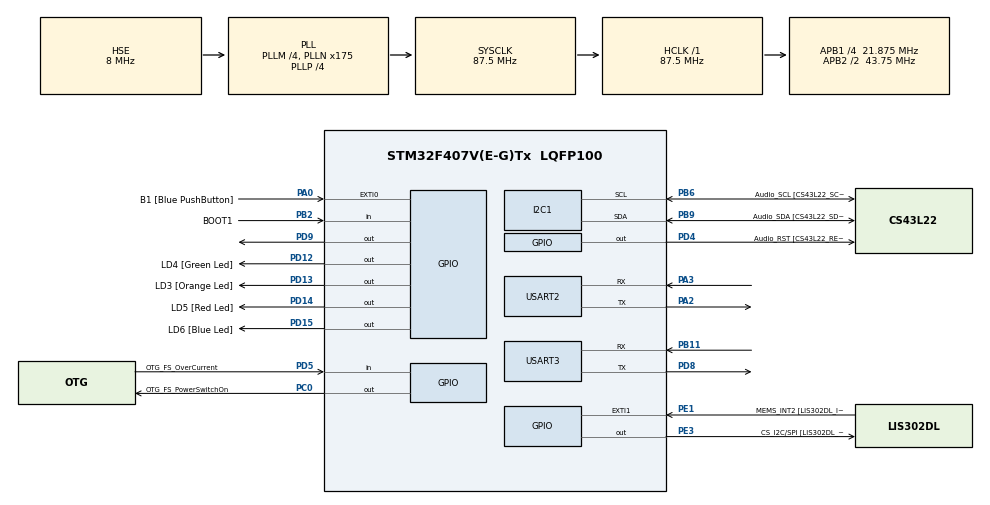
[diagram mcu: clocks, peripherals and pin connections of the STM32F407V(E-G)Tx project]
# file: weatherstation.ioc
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FREERTOS.Mutexes01=i2c1Mutex,Dynamic,NULL
FREERTOS.Queues01=bme280Data,16,uint16_t,0,Dynamic,NULL,NULL
FREERTOS.Tasks01=defaultTask,16,128,StartDefaultTask,Default,NULL,Dynamic,NULL,NULL;bme280Task,24,512,Startbme280Task,Default,NULL,Dynamic,NULL,NULL;lcdTask,24,512,StartlcdTask,Default,NULL,Dynamic,NULL,NULL;mqttTask,24,512,StartmqttTask,Default,NULL,Dynamic,NULL,NULL
Mcu.Family=STM32F4
Mcu.Name=STM32F407V(E-G)Tx
Mcu.Package=LQFP100
NVIC.PriorityGroup=NVIC_PRIORITYGROUP_4
NVIC.TIM6_DAC_IRQn=true\:15\:0\:false\:false\:true\:false\:false\:true\:true
NVIC.TimeBase=TIM6_DAC_IRQn
NVIC.TimeBaseIP=TIM6
PA0-WKUP.GPIO_Label=B1 [Blue PushButton]
PA0-WKUP.Signal=GPXTI0
PA10.GPIO_Label=OTG_FS_ID
PA10.GPIO_Mode=GPIO_MODE_AF_PP
PA10.GPIO_PuPd=GPIO_NOPULL
PA10.GPIO_Speed=GPIO_SPEED_FREQ_LOW
PA10.Signal=USB_OTG_FS_ID
PA11.GPIO_Label=OTG_FS_DM
PA11.GPIO_Mode=GPIO_MODE_AF_PP
PA11.GPIO_PuPd=GPIO_NOPULL
PA11.GPIO_Speed=GPIO_SPEED_FREQ_LOW
PA11.Signal=USB_OTG_FS_DM
PA12.GPIO_Label=OTG_FS_DP
PA12.GPIO_Mode=GPIO_MODE_AF_PP
PA12.GPIO_PuPd=GPIO_NOPULL
PA12.GPIO_Speed=GPIO_SPEED_FREQ_LOW
PA12.Signal=USB_OTG_FS_DP
PA13.GPIO_Label=SWDIO
PA13.Signal=SYS_JTMS-SWDIO
PA14.GPIO_Label=SWCLK
PA14.Signal=SYS_JTCK-SWCLK
PA2.Mode=Asynchronous
PA2.Signal=USART2_TX
PA3.Mode=Asynchronous
PA3.Signal=USART2_RX
PA4.GPIO_Label=I2S3_WS [CS43L22_LRCK]
PA4.GPIO_Mode=GPIO_MODE_AF_PP
PA4.GPIO_PuPd=GPIO_NOPULL
PA4.GPIO_Speed=GPIO_SPEED_FREQ_LOW
PA4.Signal=I2S3_WS
PA5.GPIO_Label=SPI1_SCK [LIS302DL_SCL/SPC]
PA5.GPIO_Mode=GPIO_MODE_AF_PP
PA5.GPIO_PuPd=GPIO_NOPULL
PA5.GPIO_Speed=GPIO_SPEED_FREQ_LOW
PA5.Signal=SPI1_SCK
PA6.GPIO_Label=SPI1_MISO [LIS302DL_SDO]
PA6.GPIO_Mode=GPIO_MODE_AF_PP
PA6.GPIO_PuPd=GPIO_NOPULL
PA6.GPIO_Speed=GPIO_SPEED_FREQ_LOW
PA6.Signal=SPI1_MISO
PA7.GPIO_Label=SPI1_MOSI [LIS302DL_SDA/SDI/SDO]
PA7.GPIO_Mode=GPIO_MODE_AF_PP
PA7.GPIO_PuPd=GPIO_NOPULL
PA7.GPIO_Speed=GPIO_SPEED_FREQ_LOW
PA7.Signal=SPI1_MOSI
PA9.GPIO_Label=VBUS_FS
PA9.GPIO_Mode=GPIO_MODE_INPUT
PA9.GPIO_PuPd=GPIO_NOPULL
PA9.Signal=USB_OTG_FS_VBUS
PB10.GPIO_Label=CLK_IN [MP45DT02_CLK]
PB10.GPIO_Mode=GPIO_MODE_AF_PP
PB10.GPIO_PuPd=GPIO_NOPULL
PB10.GPIO_Speed=GPIO_SPEED_FREQ_LOW
PB10.Signal=I2S2_CK
PB11.Mode=Asynchronous
PB11.Signal=USART3_RX
PB2.GPIO_Label=BOOT1
PB2.GPIO_Mode=GPIO_MODE_INPUT
PB2.GPIO_PuPd=GPIO_NOPULL
PB2.Signal=GPIO_Input
PB3.GPIO_Label=SWO
PB3.Signal=SYS_JTDO-SWO
PB6.GPIO_Label=Audio_SCL [CS43L22_SCL]
PB6.GPIO_Mode=GPIO_MODE_AF_OD
PB6.GPIO_Pu=GPIO_NOPULL
PB6.GPIO_PuPd=GPIO_NOPULL
PB6.GPIO_Speed=GPIO_SPEED_FREQ_LOW
PB6.Mode=I2C
PB6.Signal=I2C1_SCL
PB9.GPIO_Label=Audio_SDA [CS43L22_SDA]
PB9.GPIO_Mode=GPIO_MODE_AF_OD
PB9.GPIO_Pu=GPIO_NOPULL
PB9.GPIO_PuPd=GPIO_NOPULL
PB9.GPIO_Speed=GPIO_SPEED_FREQ_LOW
PB9.Mode=I2C
PB9.Signal=I2C1_SDA
PC0.GPIO_Label=OTG_FS_PowerSwitchOn
PC0.GPIO_PuPd=GPIO_NOPULL
PC0.GPIO_Speed=GPIO_SPEED_FREQ_LOW
PC0.PinState=GPIO_PIN_SET
PC0.Signal=GPIO_Output
PC10.GPIO_Label=I2S3_SCK [CS43L22_SCLK]
PC10.GPIO_Mode=GPIO_MODE_AF_PP
PC10.GPIO_PuPd=GPIO_NOPULL
PC10.GPIO_Speed=GPIO_SPEED_FREQ_LOW
PC10.Signal=I2S3_CK
PC12.GPIO_Label=I2S3_SD [CS43L22_SDIN]
PC12.GPIO_Mode=GPIO_MODE_AF_PP
PC12.GPIO_PuPd=GPIO_NOPULL
PC12.GPIO_Speed=GPIO_SPEED_FREQ_LOW
PC12.Signal=I2S3_SD
PC14-OSC32_IN.GPIO_Label=PC14-OSC32_IN
PC14-OSC32_IN.Signal=RCC_OSC32_IN
PC15-OSC32_OUT.GPIO_Label=PC15-OSC32_OUT
PC15-OSC32_OUT.Signal=RCC_OSC32_OUT
PC3.GPIO_Label=PDM_OUT [MP45DT02_DOUT]
PC3.GPIO_Mode=GPIO_MODE_AF_PP
PC3.GPIO_PuPd=GPIO_NOPULL
PC3.GPIO_Speed=GPIO_SPEED_FREQ_LOW
PC3.Signal=I2S2_SD
PC7.GPIO_Label=I2S3_MCK [CS43L22_MCLK]
PC7.GPIO_Mode=GPIO_MODE_AF_PP
PC7.GPIO_PuPd=GPIO_NOPULL
PC7.GPIO_Speed=GPIO_SPEED_FREQ_LOW
PC7.Signal=I2S3_MCK
PD12.GPIO_Label=LD4 [Green Led]
PD12.GPIO_PuPd=GPIO_NOPULL
PD12.GPIO_Speed=GPIO_SPEED_FREQ_LOW
PD12.Signal=GPIO_Output
PD13.GPIO_Label=LD3 [Orange Led]
PD13.GPIO_PuPd=GPIO_NOPULL
PD13.GPIO_Speed=GPIO_SPEED_FREQ_LOW
PD13.Signal=GPIO_Output
PD14.GPIO_Label=LD5 [Red Led]
PD14.GPIO_PuPd=GPIO_NOPULL
PD14.GPIO_Speed=GPIO_SPEED_FREQ_LOW
PD14.Signal=GPIO_Output
PD15.GPIO_Label=LD6 [Blue Led]
PD15.GPIO_PuPd=GPIO_NOPULL
PD15.GPIO_Speed=GPIO_SPEED_FREQ_LOW
PD15.Signal=GPIO_Output
PD4.GPIO_Label=Audio_RST [CS43L22_RESET]
PD4.GPIO_PuPd=GPIO_NOPULL
PD4.GPIO_Speed=GPIO_SPEED_FREQ_LOW
PD4.Signal=GPIO_Output
PD5.GPIO_Label=OTG_FS_OverCurrent
PD5.GPIO_Mode=GPIO_MODE_INPUT
PD5.GPIO_PuPd=GPIO_NOPULL
PD5.Signal=GPIO_Input
PD8.Mode=Asynchronous
PD8.Signal=USART3_TX
PD9.Signal=GPIO_Output
PE1.GPIO_Label=MEMS_INT2 [LIS302DL_INT2]
PE1.GPIO_ModeDefaultEXTI=GPIO_MODE_EVT_RISING
PE1.GPIO_PuPd=GPIO_NOPULL
PE1.Signal=GPXTI1
PE3.GPIO_Label=CS_I2C/SPI [LIS302DL_CS_I2C/SPI]
PE3.GPIO_PuPd=GPIO_NOPULL
PE3.GPIO_Speed=GPIO_SPEED_FREQ_LOW
PE3.Signal=GPIO_Output
PH0-OSC_IN.GPIO_Label=PH0-OSC_IN
PH0-OSC_IN.Mode=HSE-External-Oscillator
PH0-OSC_IN.Signal=RCC_OSC_IN
PH1-OSC_OUT.GPIO_Label=PH1-OSC_OUT
PH1-OSC_OUT.Mode=HSE-External-Oscillator
PH1-OSC_OUT.Signal=RCC_OSC_OUT
ProjectManager.HeapSize=0x200
ProjectManager.StackSize=0x400
ProjectManager.TargetToolchain=STM32CubeIDE
RCC.48MHZClocksFreq_Value=50000000
RCC.AHBFreq_Value=87500000
RCC.APB1CLKDivider=RCC_HCLK_DIV4
RCC.APB1Freq_Value=21875000
RCC.APB1TimFreq_Value=43750000
RCC.APB2CLKDivider=RCC_HCLK_DIV2
RCC.APB2Freq_Value=43750000
RCC.APB2TimFreq_Value=87500000
RCC.CortexFreq_Value=87500000
RCC.HCLKFreq_Value=87500000
RCC.HSE_VALUE=8000000
RCC.HSI_VALUE=16000000
RCC.LSE_VALUE=32768
RCC.PLLM=4
RCC.PLLN=175
RCC.PLLP=RCC_PLLP_DIV4
RCC.PLLQ=7
RCC.PLLSourceVirtual=RCC_PLLSOURCE_HSE
RCC.SYSCLKFreq_VALUE=87500000
RCC.SYSCLKSource=RCC_SYSCLKSOURCE_PLLCLK
RCC.VCOOutputFreq_Value=350000000
USART2.VirtualMode=VM_ASYNC
USART3.VirtualMode=VM_ASYNC
VP_FREERTOS_VS_CMSIS_V2.Mode=CMSIS_V2
VP_SYS_VS_tim6.Mode=TIM6
board=STM32F407G-DISC1

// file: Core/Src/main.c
/* USER CODE BEGIN Header */
/**
 ******************************************************************************
 * @file           : main.c
 * @brief          : Main program body
 ******************************************************************************
 * @attention
 *
 * Copyright (c) 2024 STMicroelectronics.
 * All rights reserved.
 *
 * This software is licensed under terms that can be found in the LICENSE file
 * in the root directory of this software component.
 * If no LICENSE file comes with this software, it is provided AS-IS.
 *
 ******************************************************************************
 */
/* USER CODE END Header */
#include "main.h"
#include "cmsis_os.h"

/* USER CODE BEGIN Includes */

#include "./BME280/bme280.h"
#include "./SSD1306/ssd1306.h"
#include <stdlib.h>
#include <string.h>
#include <stdio.h>
#include <stdbool.h>
/* USER CODE END Includes */

/* USER CODE BEGIN PD */
#define WIFI_SSID "Sherdil"
#define WIFI_PASS "03336830763BB"
#define MQTT_CLIENT_ID "OgkyKQYPMSUUIA0lICEeFQI"
#define MQTT_USERNAME "OgkyKQYPMSUUIA0lICEeFQI"
#define MQTT_PASSWORD "QzwKF9IrWL12EE1YAIRR3fui"
#define MQTT_BROKER_URL "mqtt3.thingspeak.com"
#define MQTT_PORT 8883
#define THINGSPEAK_API_KEY "Y32YKHUW1JPAYZ3F"
/* USER CODE END PD */

I2C_HandleTypeDef hi2c1;

UART_HandleTypeDef huart2;
UART_HandleTypeDef huart3;

/* Definitions for defaultTask */
osThreadId_t defaultTaskHandle;
const osThreadAttr_t defaultTask_attributes = {
  .name = "defaultTask",
  .stack_size = 128 * 4,
  .priority = (osPriority_t) osPriorityBelowNormal,
};
/* Definitions for bme280Task */
osThreadId_t bme280TaskHandle;
const osThreadAttr_t bme280Task_attributes = {
  .name = "bme280Task",
  .stack_size = 512 * 4,
  .priority = (osPriority_t) osPriorityNormal,
};
/* Definitions for lcdTask */
osThreadId_t lcdTaskHandle;
const osThreadAttr_t lcdTask_attributes = {
  .name = "lcdTask",
  .stack_size = 512 * 4,
  .priority = (osPriority_t) osPriorityNormal,
};
/* Definitions for mqttTask */
osThreadId_t mqttTaskHandle;
const osThreadAttr_t mqttTask_attributes = {
  .name = "mqttTask",
  .stack_size = 512 * 4,
  .priority = (osPriority_t) osPriorityNormal,
};
/* Definitions for bme280Data */
osMessageQueueId_t bme280DataHandle;
const osMessageQueueAttr_t bme280Data_attributes = {
  .name = "bme280Data"
};
/* Definitions for i2c1Mutex */
osMutexId_t i2c1MutexHandle;
const osMutexAttr_t i2c1Mutex_attributes = {
  .name = "i2c1Mutex"
};

void SystemClock_Config(void);
static void MX_GPIO_Init(void);
static void MX_I2C1_Init(void);
static void MX_USART2_UART_Init(void);
static void MX_USART3_UART_Init(void);
void StartDefaultTask(void *argument);
void Startbme280Task(void *argument);
void StartlcdTask(void *argument);
void StartmqttTask(void *argument);

/* USER CODE BEGIN 0 */

void sendATCommand(const char *command);
void publishMQTTMessage(const char *topic, const char *payload);
bool waitForResponse(const char *expectedResponse, uint32_t timeout);

//float temperature, humidity, pressure;

typedef struct {
	float temperature, pressure, humidity;
} bme280Data_t;

struct bme280_dev dev;
struct bme280_data comp_data;
int8_t rslt;

int8_t user_i2c_read(uint8_t id, uint8_t reg_addr, uint8_t *data, uint16_t len) {
	if (HAL_I2C_Master_Transmit(&hi2c1, (id << 1), &reg_addr, 1, 10) != HAL_OK)
		return -1;
	if (HAL_I2C_Master_Receive(&hi2c1, (id << 1) | 0x01, data, len, 10)
			!= HAL_OK)
		return -1;

	return 0;
}

void user_delay_ms(uint32_t period) {

	HAL_Delay(period);
}

int8_t user_i2c_write(uint8_t id, uint8_t reg_addr, uint8_t *data, uint16_t len) {
	int8_t *buf;
	buf = malloc(len + 1);
	buf[0] = reg_addr;
	memcpy(buf + 1, data, len);

	if (HAL_I2C_Master_Transmit(&hi2c1, (id << 1), (uint8_t*) buf, len + 1,
	HAL_MAX_DELAY) != HAL_OK)
		return -1;

	free(buf);
	return 0;
}

// for printf() redirection to USART2
int _write(int file, char *data, int len) {
	HAL_StatusTypeDef status = HAL_UART_Transmit(&huart2, (uint8_t*) data, len,
	HAL_MAX_DELAY);
	return (status == HAL_OK ? len : 0);
}

//void publishMQTTMessage(const char *topic, const char *payload) {

//}

void sendATCommand(const char *command) {
	// Implement the function to send AT command via UART to ESP32-C3
	HAL_UART_Transmit(&huart2, (uint8_t*) command, strlen(command),
	HAL_MAX_DELAY);
	//HAL_Delay(100); // Delay to allow response from ESP32-C3
}

bool waitForResponse(const char *expectedResponse, uint32_t timeout) {
	uint32_t start = HAL_GetTick();
	char response[256];
	uint32_t index = 0;

	while ((HAL_GetTick() - start) < timeout) {
		if (HAL_UART_Receive(&huart2, (uint8_t*) &response[index], 1, 100)
				== HAL_OK) {
			if (response[index] == '\n') {
				response[index + 1] = '\0';
				if (strstr(response, expectedResponse) != NULL) {
					return true;
				}
				index = 0;
			} else {
				index++;
			}
		}
	}
	return false;
}

/* USER CODE END 0 */

int main(void)
{

  /* MCU Configuration--------------------------------------------------------*/

  /* Reset of all peripherals, Initializes the Flash interface and the Systick. */
  HAL_Init();

  /* Configure the system clock */
  SystemClock_Config();

  /* Initialize all configured peripherals */
  MX_GPIO_Init();
  MX_I2C1_Init();
  MX_USART2_UART_Init();
  MX_USART3_UART_Init();
  /* USER CODE BEGIN 2 */

	/*----------------------------------------BME280 Setup-------------------------------------------------*/
	/* BME280 Initialization */
	dev.dev_id = BME280_I2C_ADDR_PRIM;
	dev.intf = BME280_I2C_INTF;
	dev.read = user_i2c_read;
	dev.write = user_i2c_write;
	dev.delay_ms = user_delay_ms;

	rslt = bme280_init(&dev); // Initialize the sensor.
	if (rslt == BME280_OK) {
		printf("BME280 Successfully Initialized\r\n");
	} else {
		printf("Failed to Initialize BME280. Error code: %d\r\n", rslt);
	}

	/* BME280 Configuration */
	dev.settings.osr_h = BME280_OVERSAMPLING_1X;
	dev.settings.osr_p = BME280_OVERSAMPLING_16X;
	dev.settings.osr_t = BME280_OVERSAMPLING_2X;
	dev.settings.filter = BME280_FILTER_COEFF_16;
	rslt = bme280_set_sensor_settings(
			BME280_OSR_PRESS_SEL | BME280_OSR_TEMP_SEL | BME280_OSR_HUM_SEL
					| BME280_FILTER_SEL, &dev);
	//rslt = bme280_set_sensor_settings(BME280_ALL_SETTINGS_SEL, &dev); this can also be used in place of above
	if (rslt == BME280_OK) {
		printf("BME280 Successfully Configured\r\n");
	} else {
		printf("Failed to Configure BME280. Error code: %d\r\n", rslt);
	}
	/* BME280 Mode Setting */
	rslt = bme280_set_sensor_mode(BME280_NORMAL_MODE, &dev);
	dev.delay_ms(40);
	if (rslt == BME280_OK) {
		printf("BME280 Mode Successfully set.\r\n");
	} else {
		printf("Failed to set BME280 Mode. Error code: %d\r\n", rslt);
	}

	/*-------------------------------------SSD1306 Setup-----------------------------------------------------*/
	ssd1306_Init(&hi2c1);

	/*----------------------------------ESP32C3 Wifi Setup---------------------------------------------------*/

	char atCommand[256];

	// Restore ESP32 to factory settings (optional)
	HAL_UART_Transmit(&huart3, (uint8_t*) "Restoring ESP32\r\n",
			strlen("Restoring ESP32\r\n"), HAL_MAX_DELAY);
	sendATCommand("AT+RESTORE\r\n");
	if (!waitForResponse("OK\r\n", 10000)) {
		HAL_UART_Transmit(&huart3, (uint8_t*) "Failed to Restore ESP32\r\n",
				strlen("Failed to Restore ESP32\r\n"), HAL_MAX_DELAY);
	}

	HAL_Delay(4000);

	//-------------------------------------------------Wifi Con Setup---------------------------------------------//

	// Test AT communication
	HAL_UART_Transmit(&huart3, (uint8_t*) "Testing AT command\r\n",
			strlen("Testing AT command\r\n"), HAL_MAX_DELAY);
	sendATCommand("AT\r\n");
	if (!waitForResponse("OK\r\n", 2000)) {
		HAL_UART_Transmit(&huart3, (uint8_t*) "AT command failed\r\n",
				strlen("AT command failed\r\n"), HAL_MAX_DELAY);
	}

	// Set WiFi mode to station mode
	HAL_UART_Transmit(&huart3,
			(uint8_t*) "Setting WiFi mode to station mode\r\n",
			strlen("Setting WiFi mode to station mode\r\n"), HAL_MAX_DELAY);
	sendATCommand("AT+CWMODE=1\r\n");
	if (!waitForResponse("OK\r\n", 7000)) {
		HAL_UART_Transmit(&huart3, (uint8_t*) "Failed to Set Mode ESP32\r\n",
				strlen("Failed to Set Mode ESP32\r\n"), HAL_MAX_DELAY);
	}

	// Connect to WiFi
	HAL_UART_Transmit(&huart3, (uint8_t*) "Connecting to Wifi\r\n",
			strlen("Connecting to Wifi\r\n"), HAL_MAX_DELAY);
	snprintf(atCommand, sizeof(atCommand), "AT+CWJAP=\"%s\",\"%s\"\r\n",
	WIFI_SSID, WIFI_PASS);
	sendATCommand(atCommand);
	if (!waitForResponse("WIFI GOT IP\r\n", 10000)) {
		HAL_UART_Transmit(&huart3, (uint8_t*) "WiFi Connection Failed\r\n",
				strlen("WiFi Connection Failed\r\n"), HAL_MAX_DELAY);
	}

	//-------------------------------------------------MQTT Con Setup---------------------------------------------//

	// Set MQTT Username and Password
	HAL_UART_Transmit(&huart3, (uint8_t*) "Configuring MQTT Credentials\r\n",
			strlen("Configuring MQTT Credentials\r\n"), HAL_MAX_DELAY);
	snprintf(atCommand, sizeof(atCommand),
			"AT+MQTTUSERCFG=0,2,\"%s\",\"%s\",\"%s\",0,0,\"\"\r\n",
			MQTT_CLIENT_ID, MQTT_USERNAME, MQTT_PASSWORD);
	sendATCommand(atCommand);
	if (!waitForResponse("OK\r\n", 1000)) {
		HAL_UART_Transmit(&huart3,
				(uint8_t*) "Failed to Configure MQTT Credentials\r\n",
				strlen("Failed to Configure MQTT Credentials\r\n"),
				HAL_MAX_DELAY);
		//return;
	}

	// Connect to MQTT Broker
	HAL_UART_Transmit(&huart3, (uint8_t*) "Connecting to MQTT Broker\r\n",
			strlen("Connecting to MQTT Broker\r\n"), HAL_MAX_DELAY);
	snprintf(atCommand, sizeof(atCommand), "AT+MQTTCONN=0,\"%s\",%d,1\r\n",
			MQTT_BROKER_URL, MQTT_PORT);
	sendATCommand(atCommand);
	if (!waitForResponse("OK\r\n", 5000)) {
		HAL_UART_Transmit(&huart3,
				(uint8_t*) "Failed to Connect to MQTT Broker\r\n",
				strlen("Failed to Connect to MQTT Broker\r\n"), HAL_MAX_DELAY);
	}

	// Subscribe to a Topic
	HAL_UART_Transmit(&huart3, (uint8_t*) "Subscribing to Topic\r\n",
			strlen("Subscribing to Topic\r\n"), HAL_MAX_DELAY);
	sendATCommand("AT+MQTTSUB=0,\"sensor/bme280\",1\r\n");
	if (!waitForResponse("OK\r\n", 1000)) {
		HAL_UART_Transmit(&huart3,
				(uint8_t*) "Failed to Subscribe to Topic\r\n",
				strlen("Failed to Subscribe to Topic\r\n"), HAL_MAX_DELAY);
		//return;
	}

	// Publish to a Topic
	HAL_UART_Transmit(&huart3, (uint8_t*) "Publishing to Topic\r\n",
			strlen("Publishing to Topic\r\n"), HAL_MAX_DELAY);
	sendATCommand("AT+MQTTPUB=0,\"sensor/bme280\",\"value1\\, value2\",1,0\r\n");
	if (!waitForResponse("OK\r\n", 1000)) {
		HAL_UART_Transmit(&huart3, (uint8_t*) "Failed to Publish to Topic\r\n",
				strlen("Failed to Publish to Topic\r\n"), HAL_MAX_DELAY);
		//return;
	}

  /* USER CODE END 2 */

  /* Init scheduler */
  osKernelInitialize();
  /* Create the mutex(es) */
  /* creation of i2c1Mutex */
  i2c1MutexHandle = osMutexNew(&i2c1Mutex_attributes);

  /* Create the queue(s) */
  /* creation of bme280Data */
	bme280DataHandle = osMessageQueueNew(16, sizeof(bme280Data_t),
			&bme280Data_attributes);

  /* Create the thread(s) */
  /* creation of defaultTask */
  defaultTaskHandle = osThreadNew(StartDefaultTask, NULL, &defaultTask_attributes);

  /* creation of bme280Task */
  bme280TaskHandle = osThreadNew(Startbme280Task, NULL, &bme280Task_attributes);

  /* creation of lcdTask */
  lcdTaskHandle = osThreadNew(StartlcdTask, NULL, &lcdTask_attributes);

  /* creation of mqttTask */
  mqttTaskHandle = osThreadNew(StartmqttTask, NULL, &mqttTask_attributes);

  /* Start scheduler */
  osKernelStart();

  /* We should never get here as control is now taken by the scheduler */

  /* Infinite loop */
	while (1) {

	}
}

void SystemClock_Config(void)
{
  RCC_OscInitTypeDef RCC_OscInitStruct = {0};
  RCC_ClkInitTypeDef RCC_ClkInitStruct = {0};

  /** Configure the main internal regulator output voltage
  */
  __HAL_RCC_PWR_CLK_ENABLE();
  __HAL_PWR_VOLTAGESCALING_CONFIG(PWR_REGULATOR_VOLTAGE_SCALE1);

  /** Initializes the RCC Oscillators according to the specified parameters
  * in the RCC_OscInitTypeDef structure.
  */
  RCC_OscInitStruct.OscillatorType = RCC_OSCILLATORTYPE_HSE;
  RCC_OscInitStruct.HSEState = RCC_HSE_ON;
  RCC_OscInitStruct.PLL.PLLState = RCC_PLL_ON;
  RCC_OscInitStruct.PLL.PLLSource = RCC_PLLSOURCE_HSE;
  RCC_OscInitStruct.PLL.PLLM = 4;
  RCC_OscInitStruct.PLL.PLLN = 175;
  RCC_OscInitStruct.PLL.PLLP = RCC_PLLP_DIV4;
  RCC_OscInitStruct.PLL.PLLQ = 7;
  if (HAL_RCC_OscConfig(&RCC_OscInitStruct) != HAL_OK)
  {
    Error_Handler();
  }

  /** Initializes the CPU, AHB and APB buses clocks
  */
  RCC_ClkInitStruct.ClockType = RCC_CLOCKTYPE_HCLK|RCC_CLOCKTYPE_SYSCLK
                              |RCC_CLOCKTYPE_PCLK1|RCC_CLOCKTYPE_PCLK2;
  RCC_ClkInitStruct.SYSCLKSource = RCC_SYSCLKSOURCE_PLLCLK;
  RCC_ClkInitStruct.AHBCLKDivider = RCC_SYSCLK_DIV1;
  RCC_ClkInitStruct.APB1CLKDivider = RCC_HCLK_DIV4;
  RCC_ClkInitStruct.APB2CLKDivider = RCC_HCLK_DIV2;

  if (HAL_RCC_ClockConfig(&RCC_ClkInitStruct, FLASH_LATENCY_2) != HAL_OK)
  {
    Error_Handler();
  }
}

static void MX_I2C1_Init(void)
{

  hi2c1.Instance = I2C1;
  hi2c1.Init.ClockSpeed = 100000;
  hi2c1.Init.DutyCycle = I2C_DUTYCYCLE_2;
  hi2c1.Init.OwnAddress1 = 0;
  hi2c1.Init.AddressingMode = I2C_ADDRESSINGMODE_7BIT;
  hi2c1.Init.DualAddressMode = I2C_DUALADDRESS_DISABLE;
  hi2c1.Init.OwnAddress2 = 0;
  hi2c1.Init.GeneralCallMode = I2C_GENERALCALL_DISABLE;
  hi2c1.Init.NoStretchMode = I2C_NOSTRETCH_DISABLE;
  if (HAL_I2C_Init(&hi2c1) != HAL_OK)
  {
    Error_Handler();
  }

}

static void MX_USART2_UART_Init(void)
{

  huart2.Instance = USART2;
  huart2.Init.BaudRate = 115200;
  huart2.Init.WordLength = UART_WORDLENGTH_8B;
  huart2.Init.StopBits = UART_STOPBITS_1;
  huart2.Init.Parity = UART_PARITY_NONE;
  huart2.Init.Mode = UART_MODE_TX_RX;
  huart2.Init.HwFlowCtl = UART_HWCONTROL_NONE;
  huart2.Init.OverSampling = UART_OVERSAMPLING_16;
  if (HAL_UART_Init(&huart2) != HAL_OK)
  {
    Error_Handler();
  }

}

static void MX_USART3_UART_Init(void)
{

  huart3.Instance = USART3;
  huart3.Init.BaudRate = 115200;
  huart3.Init.WordLength = UART_WORDLENGTH_8B;
  huart3.Init.StopBits = UART_STOPBITS_1;
  huart3.Init.Parity = UART_PARITY_NONE;
  huart3.Init.Mode = UART_MODE_TX_RX;
  huart3.Init.HwFlowCtl = UART_HWCONTROL_NONE;
  huart3.Init.OverSampling = UART_OVERSAMPLING_16;
  if (HAL_UART_Init(&huart3) != HAL_OK)
  {
    Error_Handler();
  }

}

static void MX_GPIO_Init(void)
{
  GPIO_InitTypeDef GPIO_InitStruct = {0};

  /* GPIO Ports Clock Enable */
  __HAL_RCC_GPIOE_CLK_ENABLE();
  __HAL_RCC_GPIOC_CLK_ENABLE();
  __HAL_RCC_GPIOH_CLK_ENABLE();
  __HAL_RCC_GPIOA_CLK_ENABLE();
  __HAL_RCC_GPIOB_CLK_ENABLE();
  __HAL_RCC_GPIOD_CLK_ENABLE();

  /*Configure GPIO pin Output Level */
  HAL_GPIO_WritePin(CS_I2C_SPI_GPIO_Port, CS_I2C_SPI_Pin, GPIO_PIN_RESET);

  /*Configure GPIO pin Output Level */
  HAL_GPIO_WritePin(OTG_FS_PowerSwitchOn_GPIO_Port, OTG_FS_PowerSwitchOn_Pin, GPIO_PIN_SET);

  /*Configure GPIO pin Output Level */
  HAL_GPIO_WritePin(GPIOD, GPIO_PIN_9|LD4_Pin|LD3_Pin|LD5_Pin
                          |LD6_Pin|Audio_RST_Pin, GPIO_PIN_RESET);

  /*Configure GPIO pin : CS_I2C_SPI_Pin */
  GPIO_InitStruct.Pin = CS_I2C_SPI_Pin;
  GPIO_InitStruct.Mode = GPIO_MODE_OUTPUT_PP;
  GPIO_InitStruct.Pull = GPIO_NOPULL;
  GPIO_InitStruct.Speed = GPIO_SPEED_FREQ_LOW;
  HAL_GPIO_Init(CS_I2C_SPI_GPIO_Port, &GPIO_InitStruct);

  /*Configure GPIO pin : OTG_FS_PowerSwitchOn_Pin */
  GPIO_InitStruct.Pin = OTG_FS_PowerSwitchOn_Pin;
  GPIO_InitStruct.Mode = GPIO_MODE_OUTPUT_PP;
  GPIO_InitStruct.Pull = GPIO_NOPULL;
  GPIO_InitStruct.Speed = GPIO_SPEED_FREQ_LOW;
  HAL_GPIO_Init(OTG_FS_PowerSwitchOn_GPIO_Port, &GPIO_InitStruct);

  /*Configure GPIO pin : PDM_OUT_Pin */
  GPIO_InitStruct.Pin = PDM_OUT_Pin;
  GPIO_InitStruct.Mode = GPIO_MODE_AF_PP;
  GPIO_InitStruct.Pull = GPIO_NOPULL;
  GPIO_InitStruct.Speed = GPIO_SPEED_FREQ_LOW;
  GPIO_InitStruct.Alternate = GPIO_AF5_SPI2;
  HAL_GPIO_Init(PDM_OUT_GPIO_Port, &GPIO_InitStruct);

  /*Configure GPIO pin : B1_Pin */
  GPIO_InitStruct.Pin = B1_Pin;
  GPIO_InitStruct.Mode = GPIO_MODE_IT_RISING;
  GPIO_InitStruct.Pull = GPIO_NOPULL;
  HAL_GPIO_Init(B1_GPIO_Port, &GPIO_InitStruct);

  /*Configure GPIO pin : I2S3_WS_Pin */
  GPIO_InitStruct.Pin = I2S3_WS_Pin;
  GPIO_InitStruct.Mode = GPIO_MODE_AF_PP;
  GPIO_InitStruct.Pull = GPIO_NOPULL;
  GPIO_InitStruct.Speed = GPIO_SPEED_FREQ_LOW;
  GPIO_InitStruct.Alternate = GPIO_AF6_SPI3;
  HAL_GPIO_Init(I2S3_WS_GPIO_Port, &GPIO_InitStruct);

  /*Configure GPIO pins : SPI1_SCK_Pin SPI1_MISO_Pin SPI1_MOSI_Pin */
  GPIO_InitStruct.Pin = SPI1_SCK_Pin|SPI1_MISO_Pin|SPI1_MOSI_Pin;
  GPIO_InitStruct.Mode = GPIO_MODE_AF_PP;
  GPIO_InitStruct.Pull = GPIO_NOPULL;
  GPIO_InitStruct.Speed = GPIO_SPEED_FREQ_LOW;
  GPIO_InitStruct.Alternate = GPIO_AF5_SPI1;
  HAL_GPIO_Init(GPIOA, &GPIO_InitStruct);

  /*Configure GPIO pin : BOOT1_Pin */
  GPIO_InitStruct.Pin = BOOT1_Pin;
  GPIO_InitStruct.Mode = GPIO_MODE_INPUT;
  GPIO_InitStruct.Pull = GPIO_NOPULL;
  HAL_GPIO_Init(BOOT1_GPIO_Port, &GPIO_InitStruct);

  /*Configure GPIO pin : CLK_IN_Pin */
  GPIO_InitStruct.Pin = CLK_IN_Pin;
  GPIO_InitStruct.Mode = GPIO_MODE_AF_PP;
  GPIO_InitStruct.Pull = GPIO_NOPULL;
  GPIO_InitStruct.Speed = GPIO_SPEED_FREQ_LOW;
  GPIO_InitStruct.Alternate = GPIO_AF5_SPI2;
  HAL_GPIO_Init(CLK_IN_GPIO_Port, &GPIO_InitStruct);

  /*Configure GPIO pins : PD9 LD4_Pin LD3_Pin LD5_Pin
                           LD6_Pin Audio_RST_Pin */
  GPIO_InitStruct.Pin = GPIO_PIN_9|LD4_Pin|LD3_Pin|LD5_Pin
                          |LD6_Pin|Audio_RST_Pin;
  GPIO_InitStruct.Mode = GPIO_MODE_OUTPUT_PP;
  GPIO_InitStruct.Pull = GPIO_NOPULL;
  GPIO_InitStruct.Speed = GPIO_SPEED_FREQ_LOW;
  HAL_GPIO_Init(GPIOD, &GPIO_InitStruct);

  /*Configure GPIO pins : I2S3_MCK_Pin I2S3_SCK_Pin I2S3_SD_Pin */
  GPIO_InitStruct.Pin = I2S3_MCK_Pin|I2S3_SCK_Pin|I2S3_SD_Pin;
  GPIO_InitStruct.Mode = GPIO_MODE_AF_PP;
  GPIO_InitStruct.Pull = GPIO_NOPULL;
  GPIO_InitStruct.Speed = GPIO_SPEED_FREQ_LOW;
  GPIO_InitStruct.Alternate = GPIO_AF6_SPI3;
  HAL_GPIO_Init(GPIOC, &GPIO_InitStruct);

  /*Configure GPIO pin : VBUS_FS_Pin */
  GPIO_InitStruct.Pin = VBUS_FS_Pin;
  GPIO_InitStruct.Mode = GPIO_MODE_INPUT;
  GPIO_InitStruct.Pull = GPIO_NOPULL;
  HAL_GPIO_Init(VBUS_FS_GPIO_Port, &GPIO_InitStruct);

  /*Configure GPIO pins : OTG_FS_ID_Pin OTG_FS_DM_Pin OTG_FS_DP_Pin */
  GPIO_InitStruct.Pin = OTG_FS_ID_Pin|OTG_FS_DM_Pin|OTG_FS_DP_Pin;
  GPIO_InitStruct.Mode = GPIO_MODE_AF_PP;
  GPIO_InitStruct.Pull = GPIO_NOPULL;
  GPIO_InitStruct.Speed = GPIO_SPEED_FREQ_LOW;
  GPIO_InitStruct.Alternate = GPIO_AF10_OTG_FS;
  HAL_GPIO_Init(GPIOA, &GPIO_InitStruct);

  /*Configure GPIO pin : OTG_FS_OverCurrent_Pin */
  GPIO_InitStruct.Pin = OTG_FS_OverCurrent_Pin;
  GPIO_InitStruct.Mode = GPIO_MODE_INPUT;
  GPIO_InitStruct.Pull = GPIO_NOPULL;
  HAL_GPIO_Init(OTG_FS_OverCurrent_GPIO_Port, &GPIO_InitStruct);

  /*Configure GPIO pin : MEMS_INT2_Pin */
  GPIO_InitStruct.Pin = MEMS_INT2_Pin;
  GPIO_InitStruct.Mode = GPIO_MODE_EVT_RISING;
  GPIO_InitStruct.Pull = GPIO_NOPULL;
  HAL_GPIO_Init(MEMS_INT2_GPIO_Port, &GPIO_InitStruct);

}

void StartDefaultTask(void *argument)
{
  /* USER CODE BEGIN 5 */
	/* Infinite loop */
	for (;;) {
		HAL_GPIO_TogglePin(GPIOD, GPIO_PIN_9);
		osDelay(200);
	}
  /* USER CODE END 5 */
}

void Startbme280Task(void *argument)
{
  /* USER CODE BEGIN Startbme280Task */
	bme280Data_t sensorData;
	/* Infinite loop */
	for (;;) {

		if (osMutexAcquire(i2c1MutexHandle, osWaitForever) == osOK) {
			/* BME280 Data Collection */
			rslt = bme280_get_sensor_data(BME280_ALL, &comp_data, &dev);
			osMutexRelease(i2c1MutexHandle); // Release the I2C1 mutex
			if (rslt == BME280_OK) {
				sensorData.temperature = comp_data.temperature / 100.0f; //100.0f is to make at least one operand float type
				sensorData.pressure = comp_data.pressure * (0.00750062 / 100); //1hPa = 0.00750062 mmHg
				sensorData.humidity = comp_data.humidity / 1024.0f; //1024.0f is to make at least one operand float type
			}
			// Send data to the queue
			if (osMessageQueuePut(bme280DataHandle, &sensorData, 0,
			osWaitForever) != osOK) {
			}

		}
		osDelay(1);
	}
  /* USER CODE END Startbme280Task */
}

void StartlcdTask(void *argument)
{
  /* USER CODE BEGIN StartlcdTask */
	bme280Data_t receivedData;
	char buffer[32];
	/* Infinite loop */
	for (;;) {
		if (osMessageQueueGet(bme280DataHandle, &receivedData, NULL,
		osWaitForever) == osOK) {
		} else {
			// Handle error: Failed to receive data from queue
		}

		// Clear the display
		ssd1306_Fill(Black);

		// Print the received data on the SSD1306 display
		// Write data to local screen buffer
		snprintf(buffer, sizeof(buffer), "Tem:%.2f C",
				receivedData.temperature);
		ssd1306_SetCursor(0, 0);
		ssd1306_WriteString(buffer, Font_11x18, White);

		snprintf(buffer, sizeof(buffer), "Hum:%.2f %%", receivedData.humidity);
		ssd1306_SetCursor(0, 18); // Move cursor to the next line
		ssd1306_WriteString(buffer, Font_11x18, White);

		snprintf(buffer, sizeof(buffer), "Prs:%.2f mmHg",
				receivedData.pressure);
		ssd1306_SetCursor(0, 36); // Move cursor to the next line
		ssd1306_WriteString(buffer, Font_11x18, White);

		////////////////////------Mutex------------////////////////////////
		if (osMutexAcquire(i2c1MutexHandle, osWaitForever) == osOK) {
			// Update the SSD1306 display
			ssd1306_UpdateScreen(&hi2c1);
			// Release the mutex after accessing the I2C1 peripheral
			osMutexRelease(i2c1MutexHandle);
		} else {
			// Handle error: Failed to acquire mutex
		}
		// Release the mutex after accessing the I2C1 peripheral
		osMutexRelease(i2c1MutexHandle);
		////////////////////------Mutex------------////////////////////////

		osDelay(1);
	}

  /* USER CODE END StartlcdTask */
}

void StartmqttTask(void *argument)
{
  /* USER CODE BEGIN StartmqttTask */
	  	bme280Data_t sensorData;
	  	char mqttPayload[128];
	  	const char *mqttTopic = "sensor/bme280";
	  	char atCommand[256];
	/* Infinite loop */
	for(;;){
	  		// Get data from the queue
	  		if (osMessageQueueGet(bme280DataHandle, &sensorData, NULL,
	  		osWaitForever) == osOK) {
	  			// Format the data as a JSON string
	  			snprintf(mqttPayload, sizeof(mqttPayload),
	  			         "temperature: %.2f ; pressure: %.2f ; humidity: %.2f",
	  			         sensorData.temperature, sensorData.pressure,
	  			         sensorData.humidity);

	  			// Publish to a Topic
	  			//HAL_UART_Transmit(&huart3,
	  			//		(uint8_t*) "Publishing to Topic in MQTT Task\r\n",
	  			//		strlen("Publishing to Topic\r\n"), HAL_MAX_DELAY);
	  			snprintf(atCommand, sizeof(atCommand),"AT+MQTTPUB=0,\"%s\",\"%s\",1,0\r\n", mqttTopic,mqttPayload);

	  			sendATCommand(atCommand);

	  			/*
	  			if (!waitForResponse("OK\r\n", 1000)) {
	  				HAL_UART_Transmit(&huart3,
	  						(uint8_t*) "Failed to Publish to Topic\r\n",
	  						strlen("Failed to Publish to Topic\r\n"),
	  						HAL_MAX_DELAY);
	  			} else {
	  				HAL_UART_Transmit(&huart3,
	  						(uint8_t*) "Successfully Published to Topic\r\n",
	  						strlen("Successfully Published to Topic\r\n"),
	  						HAL_MAX_DELAY);
	  			} */
	  		}
	  		osDelay(2000); // Delay for a while before the next publish
	  	}
  /* USER CODE END StartmqttTask */
}

void HAL_TIM_PeriodElapsedCallback(TIM_HandleTypeDef *htim)
{
  if (htim->Instance == TIM6) {
    HAL_IncTick();
  }
}

void Error_Handler(void)
{
	__disable_irq();
	while (1) {
	}
}
